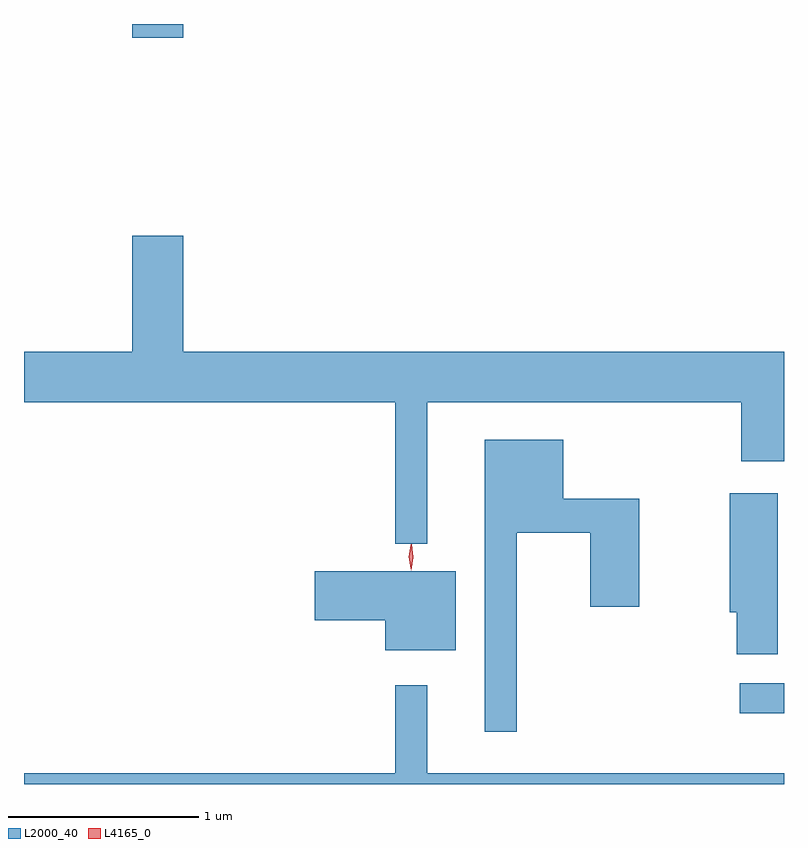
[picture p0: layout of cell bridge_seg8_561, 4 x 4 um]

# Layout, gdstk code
import gdstk
lib = gdstk.Library(unit=1e-6, precision=1e-09)
def R(c, l, rs):  # rectangles x0, y0, x1, y1
    for r in rs: c.add(gdstk.rectangle(r[:2], r[2:], *l))
def P(c, l, *ps):  # polygons
    for p in ps: c.add(gdstk.Polygon(p, *l))
L2000_40 = (2000, 40)
L4165_0 = (4165, 0)

bridge_seg8_561 = lib.new_cell('bridge_seg8_561')
R(bridge_seg8_561, L2000_40, [(557.933,1810.361,558.166,1810.519), (554.736,1813.916,555.004,1813.988)])
P(bridge_seg8_561, L2000_40, [(556.289,1811.996),(557.941,1811.996),(557.941,1811.686),(558.166,1811.686),(558.166,1812.264),(555.004,1812.264),(555.004,1812.874),(554.736,1812.874),(554.736,1812.264),(554.166,1812.264),(554.166,1811.996),(556.121,1811.996),(556.121,1811.253),(556.289,1811.253)],
  [(556.759,1811.311),(557.146,1811.311),(557.146,1810.921),(557.404,1810.921),(557.404,1811.489),(557.004,1811.489),(557.004,1811.799),(556.591,1811.799),(556.591,1810.263),(556.759,1810.263)],
  [(558.134,1811.519),(557.881,1811.519),(557.881,1810.891),(557.916,1810.891),(557.916,1810.671),(558.134,1810.671)],
  [(556.439,1811.109),(555.696,1811.109),(555.696,1810.851),(556.066,1810.851),(556.066,1810.691),(556.439,1810.691)],
  [(558.166,1810.044),(556.289,1810.044),(556.289,1810.508),(556.121,1810.508),(556.121,1810.044),(554.166,1810.044),(554.166,1809.988),(558.166,1809.988)])
P(bridge_seg8_561, L4165_0, [(556.201,1811.12),(556.192,1811.184),(556.201,1811.246),(556.202,1811.247),(556.202,1811.246),(556.212,1811.184),(556.202,1811.12),(556.202,1811.12)],
  [(556.203,1811.114),(556.203,1811.114),(556.194,1811.182),(556.204,1811.25),(556.205,1811.25),(556.206,1811.25),(556.214,1811.182),(556.204,1811.114)])

lib.write_gds('bridge_seg8_561.gds')
